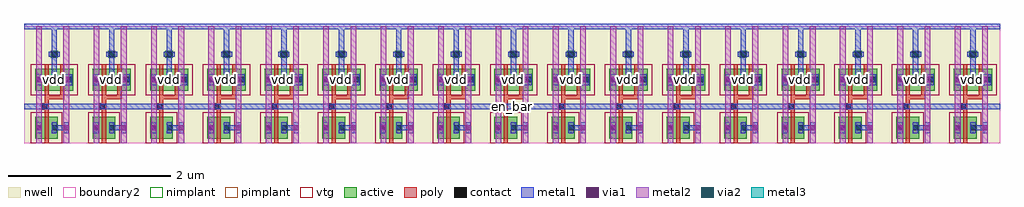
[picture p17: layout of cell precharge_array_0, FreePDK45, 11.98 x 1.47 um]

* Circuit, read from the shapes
.subckt precharge_array_0 bl_0 bl_1 bl_10 bl_11 bl_12 bl_13 bl_14 bl_15 bl_16 bl_2 bl_3 bl_4 bl_5 bl_6 bl_7 bl_8 bl_9 br_0 br_1 br_10 br_11 br_12 br_13 br_14 br_15 br_16 br_2 br_3 br_4 br_5 br_6 br_7 br_8 br_9 en_bar vdd
M1 br_0 en_bar bl_0 vdd pfet w=0.27u l=0.05u
M2 vdd en_bar bl_0 vdd pfet w=0.27u l=0.05u
M3 br_0 en_bar vdd vdd pfet w=0.27u l=0.05u
M4 br_1 en_bar bl_1 vdd pfet w=0.27u l=0.05u
M5 vdd en_bar bl_1 vdd pfet w=0.27u l=0.05u
M6 br_1 en_bar vdd vdd pfet w=0.27u l=0.05u
M7 br_2 en_bar bl_2 vdd pfet w=0.27u l=0.05u
M8 vdd en_bar bl_2 vdd pfet w=0.27u l=0.05u
M9 br_2 en_bar vdd vdd pfet w=0.27u l=0.05u
M10 br_3 en_bar bl_3 vdd pfet w=0.27u l=0.05u
M11 vdd en_bar bl_3 vdd pfet w=0.27u l=0.05u
M12 br_3 en_bar vdd vdd pfet w=0.27u l=0.05u
M13 br_4 en_bar bl_4 vdd pfet w=0.27u l=0.05u
M14 vdd en_bar bl_4 vdd pfet w=0.27u l=0.05u
M15 br_4 en_bar vdd vdd pfet w=0.27u l=0.05u
M16 br_5 en_bar bl_5 vdd pfet w=0.27u l=0.05u
M17 vdd en_bar bl_5 vdd pfet w=0.27u l=0.05u
M18 br_5 en_bar vdd vdd pfet w=0.27u l=0.05u
M19 br_6 en_bar bl_6 vdd pfet w=0.27u l=0.05u
M20 vdd en_bar bl_6 vdd pfet w=0.27u l=0.05u
M21 br_6 en_bar vdd vdd pfet w=0.27u l=0.05u
M22 br_7 en_bar bl_7 vdd pfet w=0.27u l=0.05u
M23 vdd en_bar bl_7 vdd pfet w=0.27u l=0.05u
M24 br_7 en_bar vdd vdd pfet w=0.27u l=0.05u
M25 br_8 en_bar bl_8 vdd pfet w=0.27u l=0.05u
M26 vdd en_bar bl_8 vdd pfet w=0.27u l=0.05u
M27 br_8 en_bar vdd vdd pfet w=0.27u l=0.05u
M28 br_9 en_bar bl_9 vdd pfet w=0.27u l=0.05u
M29 vdd en_bar bl_9 vdd pfet w=0.27u l=0.05u
M30 br_9 en_bar vdd vdd pfet w=0.27u l=0.05u
M31 br_10 en_bar bl_10 vdd pfet w=0.27u l=0.05u
M32 vdd en_bar bl_10 vdd pfet w=0.27u l=0.05u
M33 br_10 en_bar vdd vdd pfet w=0.27u l=0.05u
M34 br_11 en_bar bl_11 vdd pfet w=0.27u l=0.05u
M35 vdd en_bar bl_11 vdd pfet w=0.27u l=0.05u
M36 br_11 en_bar vdd vdd pfet w=0.27u l=0.05u
M37 br_12 en_bar bl_12 vdd pfet w=0.27u l=0.05u
M38 vdd en_bar bl_12 vdd pfet w=0.27u l=0.05u
M39 br_12 en_bar vdd vdd pfet w=0.27u l=0.05u
M40 br_13 en_bar bl_13 vdd pfet w=0.27u l=0.05u
M41 vdd en_bar bl_13 vdd pfet w=0.27u l=0.05u
M42 br_13 en_bar vdd vdd pfet w=0.27u l=0.05u
M43 br_14 en_bar bl_14 vdd pfet w=0.27u l=0.05u
M44 vdd en_bar bl_14 vdd pfet w=0.27u l=0.05u
M45 br_14 en_bar vdd vdd pfet w=0.27u l=0.05u
M46 br_15 en_bar bl_15 vdd pfet w=0.27u l=0.05u
M47 vdd en_bar bl_15 vdd pfet w=0.27u l=0.05u
M48 br_15 en_bar vdd vdd pfet w=0.27u l=0.05u
M49 br_16 en_bar bl_16 vdd pfet w=0.27u l=0.05u
M50 vdd en_bar bl_16 vdd pfet w=0.27u l=0.05u
M51 br_16 en_bar vdd vdd pfet w=0.27u l=0.05u
.ends

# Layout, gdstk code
import gdstk
lib = gdstk.Library(unit=1e-6, precision=5e-10)
def R(c, l, rs):  # rectangles x0, y0, x1, y1
    for r in rs: c.add(gdstk.rectangle(r[:2], r[2:], *l))
def A(c, l, x, y, w, h, nx, ny, dx, dy):  # array of equal rectangles
    R(c, l, [(x+i*dx, y+j*dy, x+i*dx+w, y+j*dy+h) for i in range(nx) for j in range(ny)])
active = (1, 0)
nwell = (3, 0)
nimplant = (4, 0)
pimplant = (5, 0)
vtg = (6, 0)
poly = (9, 0)
contact = (10, 0)
metal1 = (11, 0)
via1 = (12, 0)
metal2 = (13, 0)
via2 = (14, 0)
metal3 = (15, 0)
boundary2 = (239, 0)

contact_9 = lib.new_cell('contact_9')
R(contact_9, active, [(0,0.0225,0.09,0.1125)])
R(contact_9, nwell, [(-0.055,-0.0325,0.145,0.1675)])
R(contact_9, pimplant, [(0,0.0225,0.09,0.1125)])
R(contact_9, contact, [(0.0125,0.035,0.0775,0.1)])
R(contact_9, metal1, [(0.0125,0,0.0775,0.135)])

pmos_m1_w0_270 = lib.new_cell('pmos_m1_w0_270')
R(pmos_m1_w0_270, active, [(0,0,0.28,0.27)])
R(pmos_m1_w0_270, nwell, [(-0.055,-0.055,0.335,0.325)])
R(pmos_m1_w0_270, pimplant, [(0,0,0.28,0.27)])
R(pmos_m1_w0_270, vtg, [(-0.055,-0.055,0.335,0.325)])
R(pmos_m1_w0_270, poly, [(0.115,-0.055,0.165,0.325), (0.115,-0.055,0.165,0.325)])
R(pmos_m1_w0_270, metal1, [(0.0125,0.0675,0.0775,0.2025), (0.2025,0.0675,0.2675,0.2025)])
pmos_m1_w0_270.add(gdstk.Reference(contact_9, (0,0.0675)))
pmos_m1_w0_270.add(gdstk.Reference(contact_9, (0.19,0.0675)))
pmos_m1_w0_270.add(gdstk.Label('G', (0.14,0.135), layer=9, texttype=0))
pmos_m1_w0_270.add(gdstk.Label('S', (0.045,0.135), layer=11, texttype=0))
pmos_m1_w0_270.add(gdstk.Label('D', (0.235,0.135), layer=11, texttype=0))

contact_10 = lib.new_cell('contact_10')
R(contact_10, poly, [(0.03,0,0.105,0.075)])
R(contact_10, contact, [(0.035,0.005,0.1,0.07)])
R(contact_10, metal1, [(0,0.005,0.135,0.07)])

contact_11 = lib.new_cell('contact_11')
R(contact_11, active, [(0.0225,0,0.1125,0.09)])
R(contact_11, nwell, [(-0.0325,-0.055,0.1675,0.145)])
R(contact_11, nimplant, [(0.0225,0,0.1125,0.09)])
R(contact_11, contact, [(0.035,0.0125,0.1,0.0775)])
R(contact_11, metal1, [(0,0.0125,0.135,0.0775)])

contact_12 = lib.new_cell('contact_12')
R(contact_12, metal1, [(0.0025,0,0.0675,0.135)])
R(contact_12, via1, [(0.0025,0.035,0.0675,0.1)])
R(contact_12, metal2, [(0,0,0.07,0.135)])

contact_13 = lib.new_cell('contact_13')
R(contact_13, metal2, [(0,0,0.07,0.135)])
R(contact_13, via2, [(0.0025,0.035,0.0675,0.1)])
R(contact_13, metal3, [(0,0,0.07,0.135)])

precharge_0 = lib.new_cell('precharge_0')
R(precharge_0, nwell, [(0,0,0.705,1.4325)])
R(precharge_0, poly, [(0.2525,0,0.3025,0.59), (0.2525,0.54,0.4925,0.59)])
R(precharge_0, metal1, [(0.3725,0.1575,0.52,0.2225), (0,0.4175,0.705,0.4825), (0.52,0.7475,0.5625,0.8125), (0.34,0.8475,0.405,1.4325), (0,1.4,0.705,1.465)])
R(precharge_0, metal2, [(0.15,0,0.22,1.4325), (0.485,0,0.555,1.4325), (0.1825,0.1225,0.185,0.2575), (0.1825,0.7125,0.185,0.8475)])
R(precharge_0, metal3, [(0.3375,0.7125,0.4075,0.8475)])
precharge_0.add(gdstk.Reference(pmos_m1_w0_270, (0.1375,0.055)))
precharge_0.add(gdstk.Reference(pmos_m1_w0_270, (0.1375,0.645)))
precharge_0.add(gdstk.Reference(pmos_m1_w0_270, (0.3275,0.645)))
precharge_0.add(gdstk.Reference(contact_10, (0.185,0.4125)))
precharge_0.add(gdstk.Reference(contact_11, (0.305,1.0475)))
precharge_0.add(gdstk.Reference(contact_12, (0.3375,0.7125)))
precharge_0.add(gdstk.Reference(contact_13, (0.3375,0.7125)))
precharge_0.add(gdstk.Reference(contact_12, (0.1475,0.7125)))
precharge_0.add(gdstk.Reference(contact_12, (0.1475,0.1225)))
precharge_0.add(gdstk.Reference(contact_12, (0.485,0.7125)))
precharge_0.add(gdstk.Reference(contact_12, (0.485,0.1225)))
precharge_0.add(gdstk.Label('en_bar', (0.3525,0.45), layer=11, texttype=0))
precharge_0.add(gdstk.Label('vdd', (0.3725,0.78), layer=15, texttype=0))
precharge_0.add(gdstk.Label('bl', (0.185,0.716), layer=13, texttype=0))
precharge_0.add(gdstk.Label('br', (0.52,0.716), layer=13, texttype=0))

precharge_array_0 = lib.new_cell('precharge_array_0')
R(precharge_array_0, metal1, [(0,0.4175,11.985,0.4825)])
R(precharge_array_0, metal2, [(0.15,0,0.22,1.4325), (0.485,0,0.555,1.4325), (0.855,0,0.925,1.4325), (1.19,0,1.26,1.4325), (1.56,0,1.63,1.4325), (1.895,0,1.965,1.4325), (2.265,0,2.335,1.4325), (2.6,0,2.67,1.4325), (2.97,0,3.04,1.4325), (3.305,0,3.375,1.4325), (3.675,0,3.745,1.4325), (4.01,0,4.08,1.4325), (4.38,0,4.45,1.4325), (4.715,0,4.785,1.4325), (5.085,0,5.155,1.4325), (5.42,0,5.49,1.4325), (5.79,0,5.86,1.4325), (6.125,0,6.195,1.4325), (6.495,0,6.565,1.4325), (6.83,0,6.9,1.4325), (7.2,0,7.27,1.4325), (7.535,0,7.605,1.4325), (7.905,0,7.975,1.4325), (8.24,0,8.31,1.4325), (8.61,0,8.68,1.4325), (8.945,0,9.015,1.4325), (9.315,0,9.385,1.4325), (9.65,0,9.72,1.4325), (10.02,0,10.09,1.4325), (10.355,0,10.425,1.4325), (10.725,0,10.795,1.4325), (11.06,0,11.13,1.4325), (11.43,0,11.5,1.4325), (11.765,0,11.835,1.4325)])
A(precharge_array_0, metal3, 0.3375, 0.7125, 0.07, 0.135, 17, 1, 0.705, 0)
R(precharge_array_0, boundary2, [(0,0,11.985,1.4325)])
precharge_array_0.add(gdstk.Reference(precharge_0, (0,0)))
precharge_array_0.add(gdstk.Reference(precharge_0, (0.705,0)))
precharge_array_0.add(gdstk.Reference(precharge_0, (1.41,0)))
precharge_array_0.add(gdstk.Reference(precharge_0, (2.115,0)))
precharge_array_0.add(gdstk.Reference(precharge_0, (2.82,0)))
precharge_array_0.add(gdstk.Reference(precharge_0, (3.525,0)))
precharge_array_0.add(gdstk.Reference(precharge_0, (4.23,0)))
precharge_array_0.add(gdstk.Reference(precharge_0, (4.935,0)))
precharge_array_0.add(gdstk.Reference(precharge_0, (5.64,0)))
precharge_array_0.add(gdstk.Reference(precharge_0, (6.345,0)))
precharge_array_0.add(gdstk.Reference(precharge_0, (7.05,0)))
precharge_array_0.add(gdstk.Reference(precharge_0, (7.755,0)))
precharge_array_0.add(gdstk.Reference(precharge_0, (8.46,0)))
precharge_array_0.add(gdstk.Reference(precharge_0, (9.165,0)))
precharge_array_0.add(gdstk.Reference(precharge_0, (9.87,0)))
precharge_array_0.add(gdstk.Reference(precharge_0, (10.575,0)))
precharge_array_0.add(gdstk.Reference(precharge_0, (11.28,0)))
precharge_array_0.add(gdstk.Label('en_bar', (5.9925,0.45), layer=11, texttype=0))
precharge_array_0.add(gdstk.Label('vdd', (3.1925,0.78), layer=15, texttype=0))
precharge_array_0.add(gdstk.Label('vdd', (6.7175,0.78), layer=15, texttype=0))
precharge_array_0.add(gdstk.Label('vdd', (3.8975,0.78), layer=15, texttype=0))
precharge_array_0.add(gdstk.Label('vdd', (1.0775,0.78), layer=15, texttype=0))
precharge_array_0.add(gdstk.Label('vdd', (7.4225,0.78), layer=15, texttype=0))
precharge_array_0.add(gdstk.Label('vdd', (1.7825,0.78), layer=15, texttype=0))
precharge_array_0.add(gdstk.Label('vdd', (10.2425,0.78), layer=15, texttype=0))
precharge_array_0.add(gdstk.Label('vdd', (10.9475,0.78), layer=15, texttype=0))
precharge_array_0.add(gdstk.Label('vdd', (11.6525,0.78), layer=15, texttype=0))
precharge_array_0.add(gdstk.Label('vdd', (0.3725,0.78), layer=15, texttype=0))
precharge_array_0.add(gdstk.Label('vdd', (8.8325,0.78), layer=15, texttype=0))
precharge_array_0.add(gdstk.Label('vdd', (5.3075,0.78), layer=15, texttype=0))
precharge_array_0.add(gdstk.Label('vdd', (8.1275,0.78), layer=15, texttype=0))
precharge_array_0.add(gdstk.Label('vdd', (9.5375,0.78), layer=15, texttype=0))
precharge_array_0.add(gdstk.Label('vdd', (4.6025,0.78), layer=15, texttype=0))
precharge_array_0.add(gdstk.Label('vdd', (6.0125,0.78), layer=15, texttype=0))
precharge_array_0.add(gdstk.Label('vdd', (2.4875,0.78), layer=15, texttype=0))
precharge_array_0.add(gdstk.Label('bl_0', (0.185,0.716), layer=13, texttype=0))
precharge_array_0.add(gdstk.Label('br_0', (0.52,0.716), layer=13, texttype=0))
precharge_array_0.add(gdstk.Label('bl_1', (0.89,0.716), layer=13, texttype=0))
precharge_array_0.add(gdstk.Label('br_1', (1.225,0.716), layer=13, texttype=0))
precharge_array_0.add(gdstk.Label('bl_2', (1.595,0.716), layer=13, texttype=0))
precharge_array_0.add(gdstk.Label('br_2', (1.93,0.716), layer=13, texttype=0))
precharge_array_0.add(gdstk.Label('bl_3', (2.3,0.716), layer=13, texttype=0))
precharge_array_0.add(gdstk.Label('br_3', (2.635,0.716), layer=13, texttype=0))
precharge_array_0.add(gdstk.Label('bl_4', (3.005,0.716), layer=13, texttype=0))
precharge_array_0.add(gdstk.Label('br_4', (3.34,0.716), layer=13, texttype=0))
precharge_array_0.add(gdstk.Label('bl_5', (3.71,0.716), layer=13, texttype=0))
precharge_array_0.add(gdstk.Label('br_5', (4.045,0.716), layer=13, texttype=0))
precharge_array_0.add(gdstk.Label('bl_6', (4.415,0.716), layer=13, texttype=0))
precharge_array_0.add(gdstk.Label('br_6', (4.75,0.716), layer=13, texttype=0))
precharge_array_0.add(gdstk.Label('bl_7', (5.12,0.716), layer=13, texttype=0))
precharge_array_0.add(gdstk.Label('br_7', (5.455,0.716), layer=13, texttype=0))
precharge_array_0.add(gdstk.Label('bl_8', (5.825,0.716), layer=13, texttype=0))
precharge_array_0.add(gdstk.Label('br_8', (6.16,0.716), layer=13, texttype=0))
precharge_array_0.add(gdstk.Label('bl_9', (6.53,0.716), layer=13, texttype=0))
precharge_array_0.add(gdstk.Label('br_9', (6.865,0.716), layer=13, texttype=0))
precharge_array_0.add(gdstk.Label('bl_10', (7.235,0.716), layer=13, texttype=0))
precharge_array_0.add(gdstk.Label('br_10', (7.57,0.716), layer=13, texttype=0))
precharge_array_0.add(gdstk.Label('bl_11', (7.94,0.716), layer=13, texttype=0))
precharge_array_0.add(gdstk.Label('br_11', (8.275,0.716), layer=13, texttype=0))
precharge_array_0.add(gdstk.Label('bl_12', (8.645,0.716), layer=13, texttype=0))
precharge_array_0.add(gdstk.Label('br_12', (8.98,0.716), layer=13, texttype=0))
precharge_array_0.add(gdstk.Label('bl_13', (9.35,0.716), layer=13, texttype=0))
precharge_array_0.add(gdstk.Label('br_13', (9.685,0.716), layer=13, texttype=0))
precharge_array_0.add(gdstk.Label('bl_14', (10.055,0.716), layer=13, texttype=0))
precharge_array_0.add(gdstk.Label('br_14', (10.39,0.716), layer=13, texttype=0))
precharge_array_0.add(gdstk.Label('bl_15', (10.76,0.716), layer=13, texttype=0))
precharge_array_0.add(gdstk.Label('br_15', (11.095,0.716), layer=13, texttype=0))
precharge_array_0.add(gdstk.Label('bl_16', (11.465,0.716), layer=13, texttype=0))
precharge_array_0.add(gdstk.Label('br_16', (11.8,0.716), layer=13, texttype=0))

lib.write_gds('precharge_array_0.gds')
